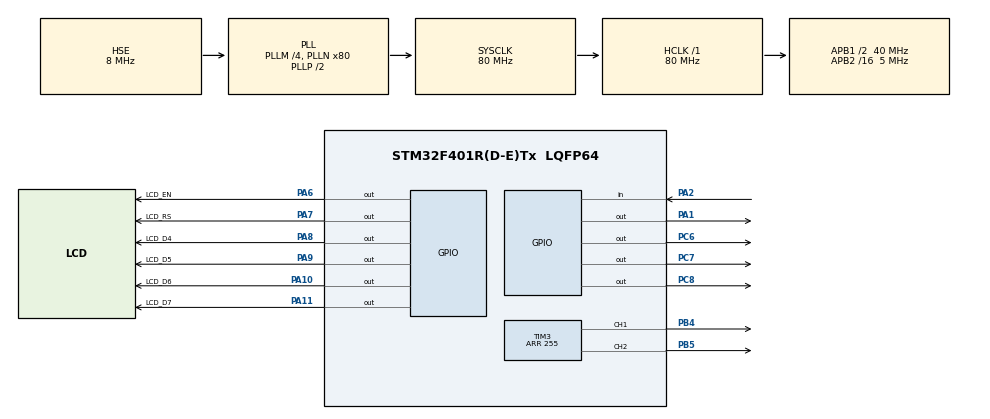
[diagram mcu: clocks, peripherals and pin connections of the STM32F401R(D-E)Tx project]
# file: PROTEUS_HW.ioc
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Mcu.Family=STM32F4
Mcu.Name=STM32F401R(D-E)Tx
Mcu.Package=LQFP64
NVIC.PriorityGroup=NVIC_PRIORITYGROUP_4
PA1.Signal=GPIO_Output
PA10.GPIO_Label=LCD_D6
PA10.Signal=GPIO_Output
PA11.GPIO_Label=LCD_D7
PA11.Signal=GPIO_Output
PA13.Mode=Serial_Wire
PA13.Signal=SYS_JTMS-SWDIO
PA14.Mode=Serial_Wire
PA14.Signal=SYS_JTCK-SWCLK
PA2.Signal=GPIO_Input
PA6.GPIO_Label=LCD_EN
PA6.Signal=GPIO_Output
PA7.GPIO_Label=LCD_RS
PA7.Signal=GPIO_Output
PA8.GPIO_Label=LCD_D4
PA8.Signal=GPIO_Output
PA9.GPIO_Label=LCD_D5
PA9.Signal=GPIO_Output
PB4.Signal=S_TIM3_CH1
PB5.Signal=S_TIM3_CH2
PC6.Signal=GPIO_Output
PC7.Signal=GPIO_Output
PC8.Signal=GPIO_Output
PH0\ -\ OSC_IN.Mode=HSE-External-Oscillator
PH0\ -\ OSC_IN.Signal=RCC_OSC_IN
PH1\ -\ OSC_OUT.Mode=HSE-External-Oscillator
PH1\ -\ OSC_OUT.Signal=RCC_OSC_OUT
ProjectManager.HeapSize=0x200
ProjectManager.StackSize=0x400
ProjectManager.TargetToolchain=STM32CubeIDE
RCC.48MHZClocksFreq_Value=40000000
RCC.AHBFreq_Value=80000000
RCC.APB1CLKDivider=RCC_HCLK_DIV2
RCC.APB1Freq_Value=40000000
RCC.APB1TimFreq_Value=80000000
RCC.APB2CLKDivider=RCC_HCLK_DIV16
RCC.APB2Freq_Value=5000000
RCC.APB2TimCLKDivider=2
RCC.APB2TimFreq_Value=10000000
RCC.CortexFreq_Value=80000000
RCC.HCLKFreq_Value=80000000
RCC.HSE_VALUE=8000000
RCC.HSI_VALUE=16000000
RCC.LSE_VALUE=32768
RCC.PLLM=4
RCC.PLLN=80
RCC.PLLSourceVirtual=RCC_PLLSOURCE_HSE
RCC.SYSCLKFreq_VALUE=80000000
RCC.SYSCLKSource=RCC_SYSCLKSOURCE_PLLCLK
RCC.VCOOutputFreq_Value=160000000
SH.S_TIM3_CH1.0=TIM3_CH1,PWM Generation1 CH1
SH.S_TIM3_CH2.0=TIM3_CH2,PWM Generation2 CH2
TIM3.Channel-PWM\ Generation1\ CH1=TIM_CHANNEL_1
TIM3.Channel-PWM\ Generation2\ CH2=TIM_CHANNEL_2
TIM3.Period=255
TIM3.Pulse-PWM\ Generation1\ CH1=0
TIM3.Pulse-PWM\ Generation2\ CH2=0
board=custom

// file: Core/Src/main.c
/* USER CODE BEGIN Header */
/**
  ******************************************************************************
  * @file           : main.c
  * @brief          : Main program body
  ******************************************************************************
  * @attention
  *
  * Copyright (c) 2022 STMicroelectronics.
  * All rights reserved.
  *
  * This software is licensed under terms that can be found in the LICENSE file
  * in the root directory of this software component.
  * If no LICENSE file comes with this software, it is provided AS-IS.
  *
  ******************************************************************************
  */
/* USER CODE END Header */
#include "main.h"

/* USER CODE BEGIN Includes */
#include "dwt_delay.h" //Mikrosaniyelik delay yapabilmemizi sağlayan DWT kütüphanesini ekle
#include "LCD.h" //LCD ekranı kontrol edebilmemizi sağlayan LCD kütüphanesini ekle
/* USER CODE END Includes */

TIM_HandleTypeDef htim3;

/* USER CODE BEGIN PV */
int count = 0; //Geçen mikrosaniyeyi saymak için bir değişken tanımladım
float distance = 0; //Uzaklığı cm biriminden bu değişkene yazdım
/* USER CODE END PV */

void SystemClock_Config(void);
static void MX_GPIO_Init(void);
static void MX_TIM3_Init(void);

/* USER CODE BEGIN 0 */
//HC-SR04 modülünü kullanmak için yazdığım fonksiyon
void measure_distance(void){
	  count = 0; //Geçen mikrosaniyeyi 0 yap
	  HAL_GPIO_WritePin(GPIOA, GPIO_PIN_1, GPIO_PIN_SET); //HC-SR04'ün Trigger pinine yüksek voltaj ver
	  DWT_Delay(10); //10 mikrosaniye delay yap
	  HAL_GPIO_WritePin(GPIOA, GPIO_PIN_1, GPIO_PIN_RESET); //HC-SR04'ün Trigger pinine giden yüksek voltajı kapat

	  while(!HAL_GPIO_ReadPin(GPIOA, GPIO_PIN_2)); //HC-SR04 cevap verene kadar döngüde kal

	  while(HAL_GPIO_ReadPin(GPIOA, GPIO_PIN_2)){ // Cevap geldikten sonra HC-SR04 yüksek voltaj verdikçe geçen süreyi say
	 	 count++; //Geçen süreyi 1 arttırarak say
	 	 DWT_Delay(1); //Geçen süreyi saymak için 1 mikrosaniye delay
	  }

	  distance = (float) count / 29.1; //HC-SR04'ten yüksek voltaj alınan zamanı 29.1'e bölerek uzaklığı cm cinsinden hesapla
}

/* USER CODE END 0 */

int main(void)
{

  /* MCU Configuration--------------------------------------------------------*/

  /* Reset of all peripherals, Initializes the Flash interface and the Systick. */
  HAL_Init();

  /* USER CODE BEGIN Init */
  DWT_Init();
  /* USER CODE END Init */

  /* Configure the system clock */
  SystemClock_Config();

  /* Initialize all configured peripherals */
  MX_GPIO_Init();
  MX_TIM3_Init();
  /* USER CODE BEGIN 2 */
  char str[20]; //İleride float değeri stringe dönüştürmek için kullanılacak string
  //PWM sinyali üretmek için kullanılan TIM3'ün 1. ve 2. kanallarını başlat
  HAL_TIM_PWM_Start(&htim3, TIM_CHANNEL_1);
  HAL_TIM_PWM_Start(&htim3, TIM_CHANNEL_2);

  //Sırasıyla GPIO pinlerinin hangi portlardan LCD ekrana bağlanacağını gir
  Lcd_PortType ports[] = { GPIOA, GPIOA, GPIOA, GPIOA };
  //LCD ekranın D4, D5, D6 ve D7 pinlerinin hangi GPIO çıkışlarını kullanacağını gir
  Lcd_PinType pins[] = {GPIO_PIN_8, GPIO_PIN_9, GPIO_PIN_10, GPIO_PIN_11};
  Lcd_HandleTypeDef lcd; //lcd'yi kontrol edebilmek için bir struct oluştur
  //LCD ekranı yaratıp önceden ayarladığımız lcd structına bilgileri ver
  lcd = Lcd_create(ports, pins, GPIOA, GPIO_PIN_7, GPIOA, GPIO_PIN_6, LCD_4_BIT_MODE);
  Lcd_cursor(&lcd, 0,0); //LCD ekrana yazılmaya başlanacak satır ve sütunu en başa getir
  Lcd_string(&lcd, "mesafe: "); //LCD üzerine "mesafe: " stringini gir
  Lcd_cursor(&lcd, 1, 0); //LCD ekranın 2. satırının başına cursor'ı getir
  Lcd_string(&lcd, "mod: "); //LCD ekranın üzerine "mod: " stringini yaz
  /* USER CODE END 2 */

  /* Infinite loop */
  /* USER CODE BEGIN WHILE */
  while (1)
  {
	  measure_distance(); //Uzaklığı hesapla (değer global distance değişkeninde güncellenir)
	  Lcd_cursor(&lcd, 0, 8); //LCD ekranın ilk satırının 9. sütununa imleci getir
	  sprintf(str, "%f", distance); //float cinsinden olan distance'ı stringe çevirip str'ye yaz
	  Lcd_string(&lcd, str); //LCD ekran üzerine uzaklığı yaz

	  //HC-SR04'ü 250 ve 350 cm arasında duracak şekilde revize ettim çünkü kullandığım sensör 400 cm üstünde düzgün çalışmıyor
	  if (distance < 250) { //Uzaklık 250'nin altındaysa bu koşulu çalıştır
		  TIM3->CCR2 = 0; //Motora giden PWM sinyalinin 2. kanalının duty cycle'ını 0% yap
		  TIM3->CCR1 = 127; //Motora giden PWM sinyalinin 1. kanalının duty cycle'ını 50% yap
		  //Sadece kırmızı led çalışacak şekilde ledleri ayarla
		  HAL_GPIO_WritePin(GPIOC, GPIO_PIN_7 | GPIO_PIN_8, GPIO_PIN_RESET);
		  HAL_GPIO_WritePin(GPIOC, GPIO_PIN_6, GPIO_PIN_SET);
		  //Cursoru 2. satırın 6. Sütununa getirip "kirmizi" yaz
		  Lcd_cursor(&lcd, 1, 5);
		  Lcd_string(&lcd, "kirmizi");
	  }
	  else if (distance < 350) { //Uzaklık 250 ve 350 arasıysa bu koşulu çalıştır
		  TIM3->CCR2 = 0; //Motora giden PWM sinyallerinin duty cycle'larını 0% yap
		  TIM3->CCR1 = 0;
		  //Sadece sarı led çalışacak şekilde ledleri ayarla
		  HAL_GPIO_WritePin(GPIOC, GPIO_PIN_6 | GPIO_PIN_8, GPIO_PIN_RESET);
		  HAL_GPIO_WritePin(GPIOC, GPIO_PIN_7, GPIO_PIN_SET);
		  //Cursoru 2. satırın 6. Sütununa getirip "sari   " yaz (boşlukların sebebi önceden kirmizi yazıldıysa onun izi harflerini silmek)
		  Lcd_cursor(&lcd, 1, 5);
		  Lcd_string(&lcd, "sari   ");
	  }
	  else { //Uzaklık 450 üstüyse bu koşulu çalıştır
		  TIM3->CCR1 = 0; //Motora giden PWM sinyalinin 2. kanalının duty cycle'ını 0% yap
		  TIM3->CCR2 = 127; //Motora giden PWM sinyalinin 1. kanalının duty cycle'ını 50% yap
		  //Sadece yeşil led çalışacak şekilde ledleri ayarla
		  HAL_GPIO_WritePin(GPIOC, GPIO_PIN_7 | GPIO_PIN_6, GPIO_PIN_RESET);
		  HAL_GPIO_WritePin(GPIOC, GPIO_PIN_8, GPIO_PIN_SET);
		  //Cursoru 2. satırın 6. Sütununa getirip "yesil  " yaz (boşlukların sebebi önceden kirmizi yazıldıysa onun izi harflerini silmek)
		  Lcd_cursor(&lcd, 1, 5);
		  Lcd_string(&lcd, "yesil  ");
	  }
	  HAL_Delay(100); //0.1 saniye sistemi beklet ki HC-SR04 sürekli çalışmasın
    /* USER CODE END WHILE */

  }
}

void SystemClock_Config(void)
{
  RCC_OscInitTypeDef RCC_OscInitStruct = {0};
  RCC_ClkInitTypeDef RCC_ClkInitStruct = {0};

  /** Configure the main internal regulator output voltage
  */
  __HAL_RCC_PWR_CLK_ENABLE();
  __HAL_PWR_VOLTAGESCALING_CONFIG(PWR_REGULATOR_VOLTAGE_SCALE2);

  /** Initializes the RCC Oscillators according to the specified parameters
  * in the RCC_OscInitTypeDef structure.
  */
  RCC_OscInitStruct.OscillatorType = RCC_OSCILLATORTYPE_HSE;
  RCC_OscInitStruct.HSEState = RCC_HSE_ON;
  RCC_OscInitStruct.PLL.PLLState = RCC_PLL_ON;
  RCC_OscInitStruct.PLL.PLLSource = RCC_PLLSOURCE_HSE;
  RCC_OscInitStruct.PLL.PLLM = 4;
  RCC_OscInitStruct.PLL.PLLN = 80;
  RCC_OscInitStruct.PLL.PLLP = RCC_PLLP_DIV2;
  RCC_OscInitStruct.PLL.PLLQ = 4;
  if (HAL_RCC_OscConfig(&RCC_OscInitStruct) != HAL_OK)
  {
    Error_Handler();
  }

  /** Initializes the CPU, AHB and APB buses clocks
  */
  RCC_ClkInitStruct.ClockType = RCC_CLOCKTYPE_HCLK|RCC_CLOCKTYPE_SYSCLK
                              |RCC_CLOCKTYPE_PCLK1|RCC_CLOCKTYPE_PCLK2;
  RCC_ClkInitStruct.SYSCLKSource = RCC_SYSCLKSOURCE_PLLCLK;
  RCC_ClkInitStruct.AHBCLKDivider = RCC_SYSCLK_DIV1;
  RCC_ClkInitStruct.APB1CLKDivider = RCC_HCLK_DIV2;
  RCC_ClkInitStruct.APB2CLKDivider = RCC_HCLK_DIV16;

  if (HAL_RCC_ClockConfig(&RCC_ClkInitStruct, FLASH_LATENCY_2) != HAL_OK)
  {
    Error_Handler();
  }
}

static void MX_TIM3_Init(void)
{

  TIM_MasterConfigTypeDef sMasterConfig = {0};
  TIM_OC_InitTypeDef sConfigOC = {0};

  htim3.Instance = TIM3;
  htim3.Init.Prescaler = 0;
  htim3.Init.CounterMode = TIM_COUNTERMODE_UP;
  htim3.Init.Period = 255;
  htim3.Init.ClockDivision = TIM_CLOCKDIVISION_DIV1;
  htim3.Init.AutoReloadPreload = TIM_AUTORELOAD_PRELOAD_DISABLE;
  if (HAL_TIM_PWM_Init(&htim3) != HAL_OK)
  {
    Error_Handler();
  }
  sMasterConfig.MasterOutputTrigger = TIM_TRGO_RESET;
  sMasterConfig.MasterSlaveMode = TIM_MASTERSLAVEMODE_DISABLE;
  if (HAL_TIMEx_MasterConfigSynchronization(&htim3, &sMasterConfig) != HAL_OK)
  {
    Error_Handler();
  }
  sConfigOC.OCMode = TIM_OCMODE_PWM1;
  sConfigOC.Pulse = 0;
  sConfigOC.OCPolarity = TIM_OCPOLARITY_HIGH;
  sConfigOC.OCFastMode = TIM_OCFAST_DISABLE;
  if (HAL_TIM_PWM_ConfigChannel(&htim3, &sConfigOC, TIM_CHANNEL_1) != HAL_OK)
  {
    Error_Handler();
  }
  if (HAL_TIM_PWM_ConfigChannel(&htim3, &sConfigOC, TIM_CHANNEL_2) != HAL_OK)
  {
    Error_Handler();
  }
  HAL_TIM_MspPostInit(&htim3);

}

static void MX_GPIO_Init(void)
{
  GPIO_InitTypeDef GPIO_InitStruct = {0};

  /* GPIO Ports Clock Enable */
  __HAL_RCC_GPIOH_CLK_ENABLE();
  __HAL_RCC_GPIOA_CLK_ENABLE();
  __HAL_RCC_GPIOC_CLK_ENABLE();
  __HAL_RCC_GPIOB_CLK_ENABLE();

  /*Configure GPIO pin Output Level */
  HAL_GPIO_WritePin(GPIOA, GPIO_PIN_1|LCD_EN_Pin|LCD_RS_Pin|LCD_D4_Pin
                          |LCD_D5_Pin|LCD_D6_Pin|LCD_D7_Pin, GPIO_PIN_RESET);

  /*Configure GPIO pin Output Level */
  HAL_GPIO_WritePin(GPIOC, GPIO_PIN_6|GPIO_PIN_7|GPIO_PIN_8, GPIO_PIN_RESET);

  /*Configure GPIO pins : PA1 LCD_EN_Pin LCD_RS_Pin LCD_D4_Pin
                           LCD_D5_Pin LCD_D6_Pin LCD_D7_Pin */
  GPIO_InitStruct.Pin = GPIO_PIN_1|LCD_EN_Pin|LCD_RS_Pin|LCD_D4_Pin
                          |LCD_D5_Pin|LCD_D6_Pin|LCD_D7_Pin;
  GPIO_InitStruct.Mode = GPIO_MODE_OUTPUT_PP;
  GPIO_InitStruct.Pull = GPIO_NOPULL;
  GPIO_InitStruct.Speed = GPIO_SPEED_FREQ_LOW;
  HAL_GPIO_Init(GPIOA, &GPIO_InitStruct);

  /*Configure GPIO pin : PA2 */
  GPIO_InitStruct.Pin = GPIO_PIN_2;
  GPIO_InitStruct.Mode = GPIO_MODE_INPUT;
  GPIO_InitStruct.Pull = GPIO_NOPULL;
  HAL_GPIO_Init(GPIOA, &GPIO_InitStruct);

  /*Configure GPIO pins : PC6 PC7 PC8 */
  GPIO_InitStruct.Pin = GPIO_PIN_6|GPIO_PIN_7|GPIO_PIN_8;
  GPIO_InitStruct.Mode = GPIO_MODE_OUTPUT_PP;
  GPIO_InitStruct.Pull = GPIO_NOPULL;
  GPIO_InitStruct.Speed = GPIO_SPEED_FREQ_LOW;
  HAL_GPIO_Init(GPIOC, &GPIO_InitStruct);

}

void Error_Handler(void)
{
  __disable_irq();
  while (1)
  {
  }
}
